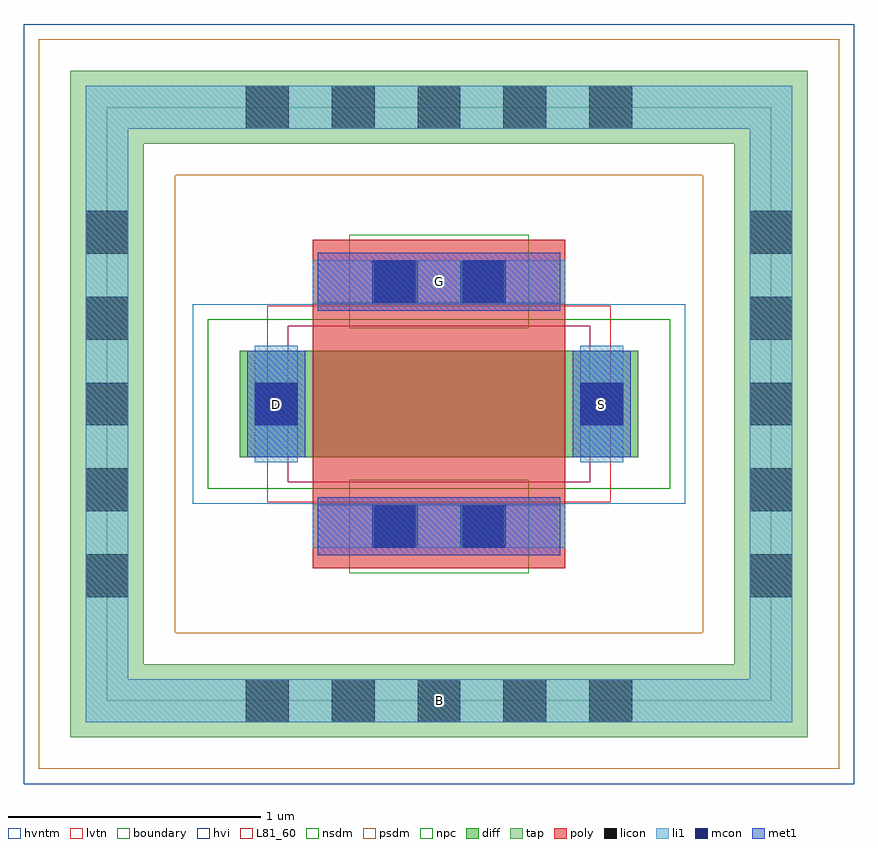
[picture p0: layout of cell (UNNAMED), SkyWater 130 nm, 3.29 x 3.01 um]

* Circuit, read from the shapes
.subckt (UNNAMED) B D G S
XM1 S G D B sky130_fd_pr__nfet_05v0_nvt w=0.42 l=1
.ends

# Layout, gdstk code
import gdstk
lib = gdstk.Library(unit=1e-6, precision=1e-09)
def R(c, l, rs):  # rectangles x0, y0, x1, y1
    for r in rs: c.add(gdstk.rectangle(r[:2], r[2:], *l))
def A(c, l, x, y, w, h, nx, ny, dx, dy):  # array of equal rectangles
    R(c, l, [(x+i*dx, y+j*dy, x+i*dx+w, y+j*dy+h) for i in range(nx) for j in range(ny)])
diff = (65, 20)
tap = (65, 44)
poly = (66, 20)
licon = (66, 44)
li1 = (67, 20)
mcon = (67, 44)
met1 = (68, 20)
hvi = (75, 20)
L81_60 = (81, 60)
nsdm = (93, 44)
psdm = (94, 20)
npc = (95, 20)
hvntm = (125, 20)
lvtn = (125, 44)
boundary = (235, 4)

c__unnamed_ = lib.new_cell('(UNNAMED)')
R(c__unnamed_, diff, [(-0.79,-0.21,0.79,0.21)])
R(c__unnamed_, tap, [(-1.46,-1.32,1.46,-1.03), (-1.46,-1.03,-1.17,1.03), (1.17,-1.03,1.46,1.03), (-1.46,1.03,1.46,1.32)])
R(c__unnamed_, poly, [(-0.5,-0.65,0.5,0.65)])
A(c__unnamed_, licon, -0.765, -1.26, 0.17, 0.17, 5, 2, 0.34, 2.35)
A(c__unnamed_, licon, -1.4, -0.765, 0.17, 0.17, 1, 5, 0, 0.34)
A(c__unnamed_, licon, 1.23, -0.765, 0.17, 0.17, 1, 5, 0, 0.34)
R(c__unnamed_, licon, [(-0.255,-0.57,-0.085,-0.4), (0.085,-0.57,0.255,-0.4), (-0.73,-0.085,-0.56,0.085), (0.56,-0.085,0.73,0.085), (-0.255,0.4,-0.085,0.57), (0.085,0.4,0.255,0.57)])
R(c__unnamed_, li1, [(-1.4,-1.26,1.4,-1.09), (-1.4,-1.09,-1.23,1.09), (1.23,-1.09,1.4,1.09), (-0.5,-0.57,0.5,-0.4), (-0.73,-0.23,-0.56,0.23), (0.56,-0.23,0.73,0.23), (-0.5,0.4,0.5,0.57), (-1.4,1.09,1.4,1.26)])
R(c__unnamed_, mcon, [(-0.265,-0.57,-0.095,-0.4), (0.095,-0.57,0.265,-0.4), (-0.73,-0.085,-0.56,0.085), (0.56,-0.085,0.73,0.085), (-0.265,0.4,-0.095,0.57), (0.095,0.4,0.265,0.57)])
R(c__unnamed_, met1, [(-0.48,-0.6,0.48,-0.37), (-0.76,-0.21,-0.53,0.21), (0.53,-0.21,0.76,0.21), (-0.48,0.37,0.48,0.6)])
R(c__unnamed_, hvi, [(-1.645,-1.505,1.645,1.505)])
R(c__unnamed_, L81_60, [(-0.6,-0.31,0.6,0.31)])
R(c__unnamed_, nsdm, [(-0.915,-0.335,0.915,0.335)])
R(c__unnamed_, psdm, [(-1.585,-1.445,1.585,-0.905), (-1.585,-0.905,-1.045,0.905), (1.045,-0.905,1.585,0.905), (-1.585,0.905,1.585,1.445)])
R(c__unnamed_, npc, [(-0.355,-0.67,0.355,-0.3), (-0.355,0.3,0.355,0.67)])
R(c__unnamed_, hvntm, [(-0.975,-0.395,0.975,0.395)])
R(c__unnamed_, lvtn, [(-0.68,-0.39,0.68,0.39)])
R(c__unnamed_, boundary, [(-1.315,-1.175,1.315,1.175)])
c__unnamed_.add(gdstk.Label('B', (0,-1.175), layer=67, texttype=5))
c__unnamed_.add(gdstk.Label('D', (-0.645,0), layer=67, texttype=5))
c__unnamed_.add(gdstk.Label('S', (0.645,0), layer=67, texttype=5))
c__unnamed_.add(gdstk.Label('G', (0,0.485), layer=67, texttype=5))

lib.write_gds('_UNNAMED_.gds')
